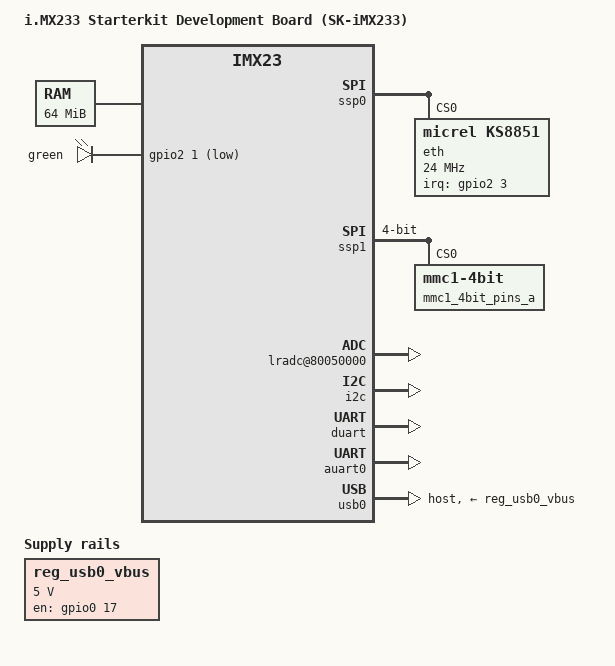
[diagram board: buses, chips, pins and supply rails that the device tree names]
/*
 * Copyright 2016 Sergey Shcherbakov <shchers@gmail.com>
 *
 * Author: Sergey Shcherbakov <shchers@gmail.com>
 *
 * The code contained herein is licensed under the GNU General Public
 * License. You may obtain a copy of the GNU General Public License
 * Version 2 or later at the following locations:
 *
 * http://www.opensource.org/licenses/gpl-license.html
 * http://www.gnu.org/copyleft/gpl.html
 */

/dts-v1/;
#include <dt-bindings/gpio/gpio.h>
#include "imx23.dtsi"

/ {
	model = "i.MX233 Starterkit Development Board (SK-iMX233)";
	compatible = "fsl,imx23";

	memory {
		reg = <0x40000000 0x04000000>;
	};

	apb@80000000 {
		apbh@80000000 {
			ssp0: ssp@80010000 {
				#address-cells = <1>;
				#size-cells = <0>;
				compatible = "fsl,imx23-spi";
				pinctrl-names = "default";
				pinctrl-0 = <&spi0_pins &spi0_pins_fixup>;
				status = "okay";

				eth: ks8851@0 {
					compatible = "micrel,ks8851";
					spi-max-frequency = <24000000>;
					reg = <0>;

					interrupt-parent = <&gpio2>;
					interrupts = <3 0x2>;
				};
			};

			pinctrl@80018000 {
				spi0_pins: spi0-pins@0 {
					reg = <0>;
					fsl,pinmux-ids = <
						MX23_PAD_SSP1_DATA0__SSP1_DATA0
						MX23_PAD_SSP1_DATA3__SSP1_DATA3
						MX23_PAD_SSP1_CMD__SSP1_CMD
						MX23_PAD_SSP1_SCK__SSP1_SCK
					>;
					fsl,drive-strength = <MXS_DRIVE_8mA>;
					fsl,voltage = <MXS_VOLTAGE_HIGH>;
					fsl,pull-up = <MXS_PULL_ENABLE>;
				};

				spi0_pins_fixup: spi0-pins-fixup {
					fsl,pinmux-ids = <
						MX23_PAD_SSP1_SCK__SSP1_SCK
					>;
					fsl,pull-up = <MXS_PULL_DISABLE>;
				};

				eth_irq: eth-irq {
					reg = <0>;
					fsl,pinmux-ids = <MX23_PAD_SSP1_DATA1__GPIO_2_3>;
					fsl,drive-strength = <MXS_DRIVE_4mA>;
					fsl,voltage = <MXS_VOLTAGE_HIGH>;
					fsl,pull-up = <MXS_PULL_ENABLE>;
				};
			};

			ssp1: ssp@80034000 {
				#address-cells = <1>;
				#size-cells = <0>;
				compatible = "fsl,imx23-mmc";
				pinctrl-names = "default";
				pinctrl-0 = <&mmc1_4bit_pins_a &mmc1_pins_fixup>;
				bus-width = <4>;
				status = "okay";

				mmc1_4bit_pins_a: mmc1-4bit@0 {
					reg = <0>;
					fsl,pinmux-ids = <
						MX23_PAD_GPMI_D00__SSP2_DATA0
						MX23_PAD_GPMI_D01__SSP2_DATA1
						MX23_PAD_GPMI_D02__SSP2_DATA2
						MX23_PAD_GPMI_D03__SSP2_DATA3
						MX23_PAD_GPMI_RDY1__SSP2_CMD
						MX23_PAD_GPMI_WRN__SSP2_SCK
					>;
					fsl,drive-strength = <MXS_DRIVE_8mA>;
					fsl,voltage = <MXS_VOLTAGE_HIGH>;
					fsl,pull-up = <MXS_PULL_ENABLE>;
				};

				mmc1_pins_fixup: mmc1-pins-fixup {
					fsl,pinmux-ids = <
						MX23_PAD_GPMI_RDY0__SSP2_DETECT
						MX23_PAD_GPMI_WRN__SSP2_SCK
					>;
					fsl,pull-up = <MXS_PULL_DISABLE>;
				};
			};

		};

		apbx@80040000 {
			lradc@80050000 {
				status = "okay";
			};

			i2c: i2c@80058000 {
				pinctrl-names = "default";
				pinctrl-0 = <&i2c_pins_b>;
				status = "okay";
			};

			duart: serial@80070000 {
				pinctrl-names = "default";
				pinctrl-0 = <&duart_pins_a>;
				status = "okay";
			};

			auart0: serial@8006c000 {
				pinctrl-names = "default";
				pinctrl-0 = <&auart0_2pins_a>;
				status = "okay";
			};

			usbphy0: usbphy@8007c000 {
				status = "okay";
			};
		};
	};

	ahb@80080000 {
		usb0: usb@80080000 {
			dr_mode = "host";
			vbus-supply = <&reg_usb0_vbus>;
			status = "okay";
		};
	};

	regulators {
		compatible = "simple-bus";
		#address-cells = <1>;
		#size-cells = <0>;

		reg_usb0_vbus: regulator@0 {
			compatible = "regulator-fixed";
			reg = <0>;
			regulator-name = "usb0_vbus";
			regulator-min-microvolt = <5000000>;
			regulator-max-microvolt = <5000000>;
			enable-active-high;
			startup-delay-us = <300>; /* LAN9215 requires a POR of 200us minimum */
			gpio = <&gpio0 17 0>;
		};
	};

	leds {
		compatible = "gpio-leds";

		user {
			label = "green";
			gpios = <&gpio2 1 GPIO_ACTIVE_LOW>;
		};
	};
};
